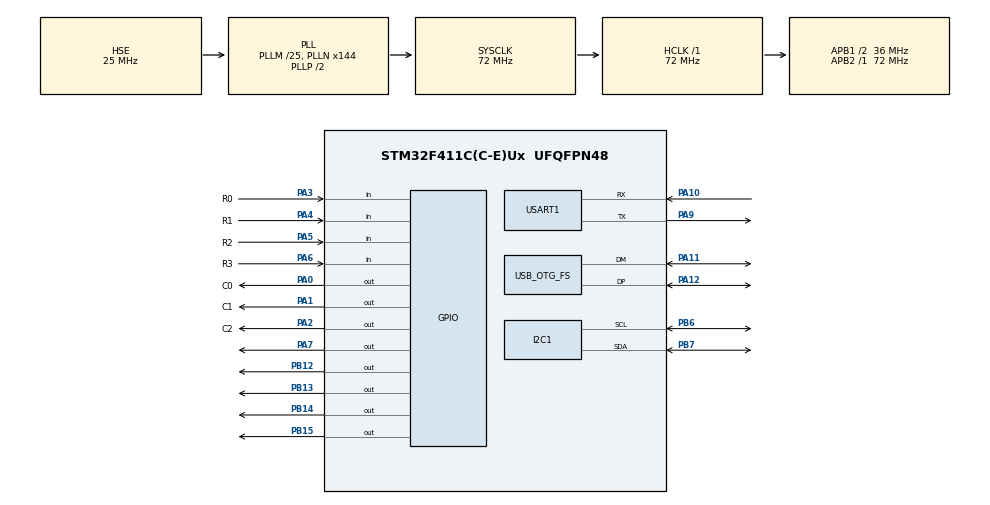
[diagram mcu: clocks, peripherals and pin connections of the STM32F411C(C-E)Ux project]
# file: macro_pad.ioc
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FREERTOS.Tasks01=defaultTask,0,128,StartDefaultTask,Default,NULL,Dynamic,NULL,NULL;UsbSendTask,0,128,UsbSendTaskInit,Default,NULL,Dynamic,NULL,NULL
FREERTOS.configUSE_NEWLIB_REENTRANT=1
Mcu.Family=STM32F4
Mcu.Name=STM32F411C(C-E)Ux
Mcu.Package=UFQFPN48
NVIC.OTG_FS_IRQn=true\:5\:0\:false\:false\:true\:true\:false\:true\:true
NVIC.PriorityGroup=NVIC_PRIORITYGROUP_4
PA0-WKUP.GPIO_Label=C0
PA0-WKUP.GPIO_PuPd=GPIO_PULLUP
PA0-WKUP.Signal=GPIO_Output
PA1.GPIO_Label=C1
PA1.GPIO_PuPd=GPIO_PULLUP
PA1.Signal=GPIO_Output
PA10.Mode=Asynchronous
PA10.Signal=USART1_RX
PA11.Mode=Device_Only
PA11.Signal=USB_OTG_FS_DM
PA12.Mode=Device_Only
PA12.Signal=USB_OTG_FS_DP
PA13.Mode=Serial_Wire
PA13.Signal=SYS_JTMS-SWDIO
PA14.Mode=Serial_Wire
PA14.Signal=SYS_JTCK-SWCLK
PA2.GPIO_Label=C2
PA2.GPIO_PuPd=GPIO_PULLUP
PA2.Signal=GPIO_Output
PA3.GPIO_Label=R0
PA3.GPIO_PuPd=GPIO_PULLUP
PA3.Signal=GPIO_Input
PA4.GPIO_Label=R1
PA4.GPIO_PuPd=GPIO_PULLUP
PA4.Signal=GPIO_Input
PA5.GPIO_Label=R2
PA5.GPIO_PuPd=GPIO_PULLUP
PA5.Signal=GPIO_Input
PA6.GPIO_Label=R3
PA6.GPIO_PuPd=GPIO_PULLUP
PA6.Signal=GPIO_Input
PA7.Signal=GPIO_Output
PA9.Mode=Asynchronous
PA9.Signal=USART1_TX
PB12.GPIO_PuPd=GPIO_PULLDOWN
PB12.Signal=GPIO_Output
PB13.GPIO_PuPd=GPIO_PULLDOWN
PB13.Signal=GPIO_Output
PB14.GPIO_PuPd=GPIO_PULLDOWN
PB14.Signal=GPIO_Output
PB15.GPIO_PuPd=GPIO_PULLDOWN
PB15.Signal=GPIO_Output
PB6.Mode=I2C
PB6.Signal=I2C1_SCL
PB7.Mode=I2C
PB7.Signal=I2C1_SDA
PH0\ -\ OSC_IN.Mode=HSE-External-Oscillator
PH0\ -\ OSC_IN.Signal=RCC_OSC_IN
PH1\ -\ OSC_OUT.Mode=HSE-External-Oscillator
PH1\ -\ OSC_OUT.Signal=RCC_OSC_OUT
ProjectManager.HeapSize=0x200
ProjectManager.StackSize=0x400
ProjectManager.TargetToolchain=STM32CubeIDE
RCC.48MHZClocksFreq_Value=48000000
RCC.AHBFreq_Value=72000000
RCC.APB1CLKDivider=RCC_HCLK_DIV2
RCC.APB1Freq_Value=36000000
RCC.APB1TimFreq_Value=72000000
RCC.APB2Freq_Value=72000000
RCC.APB2TimFreq_Value=72000000
RCC.CortexFreq_Value=72000000
RCC.HCLKFreq_Value=72000000
RCC.HSE_VALUE=25000000
RCC.HSI_VALUE=16000000
RCC.LSE_VALUE=32768
RCC.PLLM=25
RCC.PLLN=144
RCC.PLLQ=3
RCC.SYSCLKFreq_VALUE=72000000
RCC.SYSCLKSource=RCC_SYSCLKSOURCE_PLLCLK
RCC.VCOOutputFreq_Value=144000000
USART1.VirtualMode=VM_ASYNC
USB_DEVICE.CLASS_NAME_FS=HID
USB_DEVICE.PRODUCT_STRING_HID_FS=STM32F411 Keyboard 2
USB_DEVICE.VirtualMode=Hid
USB_DEVICE.VirtualModeFS=Hid_FS
USB_OTG_FS.VirtualMode=Device_Only
VP_FREERTOS_VS_CMSIS_V1.Mode=CMSIS_V1
VP_USB_DEVICE_VS_USB_DEVICE_HID_FS.Mode=HID_FS
board=custom

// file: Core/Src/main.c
/* USER CODE BEGIN Header */
/**
  ******************************************************************************
  * @file           : main.c
  * @brief          : Main program body
  ******************************************************************************
  * @attention
  *
  * Copyright (c) 2025 STMicroelectronics.
  * All rights reserved.
  *
  * This software is licensed under terms that can be found in the LICENSE file
  * in the root directory of this software component.
  * If no LICENSE file comes with this software, it is provided AS-IS.
  *
  ******************************************************************************
  */
/* USER CODE END Header */
#include "main.h"
#include "cmsis_os.h"
#include "usb_device.h"

/* USER CODE BEGIN Includes */
#include <stdlib.h>
#include "usbd_hid.h"
#include "s4661768_keypad.h"
#include "s4661768_oled.h"
#include "ssd1306_fonts.h"
#include "ssd1306.h"
#include "ssd1306_conf.h"
#include "ssd1306_tests.h"
#include "FreeRTOS.h"
#include "task.h"
#include "queue.h"
#include "event_groups.h"

#include "frames.h"
/* USER CODE END Includes */

I2C_HandleTypeDef hi2c1;

UART_HandleTypeDef huart1;

osThreadId defaultTaskHandle;
osThreadId UsbSendTaskHandle;
/* USER CODE BEGIN PV */
extern USBD_HandleTypeDef hUsbDeviceFS;
//extern uint8_t frames;

EventGroupHandle_t Keypad;
QueueHandle_t UsbQueue;
QueueHandle_t OledQueue;
/* USER CODE END PV */

void SystemClock_Config(void);
static void MX_GPIO_Init(void);
static void MX_I2C1_Init(void);
static void MX_USART1_UART_Init(void);
void StartDefaultTask(void const * argument);
void UsbSendTaskInit(void const * argument);

/* USER CODE BEGIN PFP */
void s4661768TaskKeypad();

void clear_generic_report(GenericReport* genRep);
void clear_generic_msg(GenericReport* genRep);
void build_generic_msg(GenericReport* genRep);
void set_report(EventBits_t bits, GenericReport* genRep, uint8_t layer);
/* USER CODE END PFP */

int main(void)
{

  /* MCU Configuration--------------------------------------------------------*/

  /* Reset of all peripherals, Initializes the Flash interface and the Systick. */
  HAL_Init();

  /* Configure the system clock */
  SystemClock_Config();

  /* Initialize all configured peripherals */
  MX_GPIO_Init();
  MX_I2C1_Init();
  MX_USART1_UART_Init();

  /* Create the thread(s) */
  /* definition and creation of defaultTask */
  osThreadDef(defaultTask, StartDefaultTask, osPriorityNormal, 0, 128);
  defaultTaskHandle = osThreadCreate(osThread(defaultTask), NULL);

  /* definition and creation of UsbSendTask */
  osThreadDef(UsbSendTask, UsbSendTaskInit, osPriorityNormal, 0, 128);
  UsbSendTaskHandle = osThreadCreate(osThread(UsbSendTask), NULL);

  /* USER CODE BEGIN RTOS_THREADS */
  /* add threads, ... */
  s4661768_tsk_keypad_init();
  s4661768_tsk_oled_init();
  /* USER CODE END RTOS_THREADS */

  /* Start scheduler */
  osKernelStart();
  /* We should never get here as control is now taken by the scheduler */
  /* Infinite loop */
  while (1)
  {

  }
}

void SystemClock_Config(void)
{
  RCC_OscInitTypeDef RCC_OscInitStruct = {0};
  RCC_ClkInitTypeDef RCC_ClkInitStruct = {0};

  /** Configure the main internal regulator output voltage
  */
  __HAL_RCC_PWR_CLK_ENABLE();
  __HAL_PWR_VOLTAGESCALING_CONFIG(PWR_REGULATOR_VOLTAGE_SCALE1);

  /** Initializes the RCC Oscillators according to the specified parameters
  * in the RCC_OscInitTypeDef structure.
  */
  RCC_OscInitStruct.OscillatorType = RCC_OSCILLATORTYPE_HSE;
  RCC_OscInitStruct.HSEState = RCC_HSE_ON;
  RCC_OscInitStruct.PLL.PLLState = RCC_PLL_ON;
  RCC_OscInitStruct.PLL.PLLSource = RCC_PLLSOURCE_HSE;
  RCC_OscInitStruct.PLL.PLLM = 25;
  RCC_OscInitStruct.PLL.PLLN = 144;
  RCC_OscInitStruct.PLL.PLLP = RCC_PLLP_DIV2;
  RCC_OscInitStruct.PLL.PLLQ = 3;
  if (HAL_RCC_OscConfig(&RCC_OscInitStruct) != HAL_OK)
  {
    Error_Handler();
  }

  /** Initializes the CPU, AHB and APB buses clocks
  */
  RCC_ClkInitStruct.ClockType = RCC_CLOCKTYPE_HCLK|RCC_CLOCKTYPE_SYSCLK
                              |RCC_CLOCKTYPE_PCLK1|RCC_CLOCKTYPE_PCLK2;
  RCC_ClkInitStruct.SYSCLKSource = RCC_SYSCLKSOURCE_PLLCLK;
  RCC_ClkInitStruct.AHBCLKDivider = RCC_SYSCLK_DIV1;
  RCC_ClkInitStruct.APB1CLKDivider = RCC_HCLK_DIV2;
  RCC_ClkInitStruct.APB2CLKDivider = RCC_HCLK_DIV1;

  if (HAL_RCC_ClockConfig(&RCC_ClkInitStruct, FLASH_LATENCY_2) != HAL_OK)
  {
    Error_Handler();
  }
}

static void MX_I2C1_Init(void)
{

  hi2c1.Instance = I2C1;
  hi2c1.Init.ClockSpeed = 100000;
  hi2c1.Init.DutyCycle = I2C_DUTYCYCLE_2;
  hi2c1.Init.OwnAddress1 = 0;
  hi2c1.Init.AddressingMode = I2C_ADDRESSINGMODE_7BIT;
  hi2c1.Init.DualAddressMode = I2C_DUALADDRESS_DISABLE;
  hi2c1.Init.OwnAddress2 = 0;
  hi2c1.Init.GeneralCallMode = I2C_GENERALCALL_DISABLE;
  hi2c1.Init.NoStretchMode = I2C_NOSTRETCH_DISABLE;
  if (HAL_I2C_Init(&hi2c1) != HAL_OK)
  {
    Error_Handler();
  }

}

static void MX_USART1_UART_Init(void)
{

  huart1.Instance = USART1;
  huart1.Init.BaudRate = 115200;
  huart1.Init.WordLength = UART_WORDLENGTH_8B;
  huart1.Init.StopBits = UART_STOPBITS_1;
  huart1.Init.Parity = UART_PARITY_NONE;
  huart1.Init.Mode = UART_MODE_TX_RX;
  huart1.Init.HwFlowCtl = UART_HWCONTROL_NONE;
  huart1.Init.OverSampling = UART_OVERSAMPLING_16;
  if (HAL_UART_Init(&huart1) != HAL_OK)
  {
    Error_Handler();
  }

}

static void MX_GPIO_Init(void)
{
  GPIO_InitTypeDef GPIO_InitStruct = {0};

  /* GPIO Ports Clock Enable */
  __HAL_RCC_GPIOH_CLK_ENABLE();
  __HAL_RCC_GPIOA_CLK_ENABLE();
  __HAL_RCC_GPIOB_CLK_ENABLE();

  /*Configure GPIO pin Output Level */
  HAL_GPIO_WritePin(GPIOA, C0_Pin|C1_Pin|C2_Pin|GPIO_PIN_7, GPIO_PIN_RESET);

  /*Configure GPIO pin Output Level */
  HAL_GPIO_WritePin(GPIOB, GPIO_PIN_12|GPIO_PIN_13|GPIO_PIN_14|GPIO_PIN_15, GPIO_PIN_RESET);

  /*Configure GPIO pins : C0_Pin C1_Pin C2_Pin */
  GPIO_InitStruct.Pin = C0_Pin|C1_Pin|C2_Pin;
  GPIO_InitStruct.Mode = GPIO_MODE_OUTPUT_PP;
  GPIO_InitStruct.Pull = GPIO_PULLUP;
  GPIO_InitStruct.Speed = GPIO_SPEED_FREQ_LOW;
  HAL_GPIO_Init(GPIOA, &GPIO_InitStruct);

  /*Configure GPIO pins : R0_Pin R1_Pin R2_Pin R3_Pin */
  GPIO_InitStruct.Pin = R0_Pin|R1_Pin|R2_Pin|R3_Pin;
  GPIO_InitStruct.Mode = GPIO_MODE_INPUT;
  GPIO_InitStruct.Pull = GPIO_PULLUP;
  HAL_GPIO_Init(GPIOA, &GPIO_InitStruct);

  /*Configure GPIO pin : PA7 */
  GPIO_InitStruct.Pin = GPIO_PIN_7;
  GPIO_InitStruct.Mode = GPIO_MODE_OUTPUT_PP;
  GPIO_InitStruct.Pull = GPIO_NOPULL;
  GPIO_InitStruct.Speed = GPIO_SPEED_FREQ_LOW;
  HAL_GPIO_Init(GPIOA, &GPIO_InitStruct);

  /*Configure GPIO pins : PB12 PB13 PB14 PB15 */
  GPIO_InitStruct.Pin = GPIO_PIN_12|GPIO_PIN_13|GPIO_PIN_14|GPIO_PIN_15;
  GPIO_InitStruct.Mode = GPIO_MODE_OUTPUT_PP;
  GPIO_InitStruct.Pull = GPIO_PULLDOWN;
  GPIO_InitStruct.Speed = GPIO_SPEED_FREQ_LOW;
  HAL_GPIO_Init(GPIOB, &GPIO_InitStruct);

}

/* USER CODE BEGIN 4 */
/***************************************************************************************************/
/*                                      HELPER FUNCTIONS                                           */
/***************************************************************************************************/

/**
 * This function clears all attributes of the given GenericReport struct.
 *
 * @param:
 * 	genRep <GenericReport*>: struct used to hold data to be reported over USB.
 */
void clear_generic_report(GenericReport* genRep) {

	clear_generic_msg(genRep);

	genRep->reportId = 0;
	genRep->r0 = 0;
	genRep->r1 = 0;
	genRep->r2 = 0;
	genRep->r3 = 0;
	genRep->r4 = 0;
	genRep->r5 = 0;
	genRep->r6 = 0;
	genRep->r7 = 0;

}

/**
 * This function clears the msg attribute of the given GenericReport struct.
 *
 * NOTE" This method does not clear the reportId attribute of GenericReport. To
 * clear the reportId you must use clear_generic_report() and build_generic_msg().
 *
 * @param:
 * 	genRep <GenericReport*>: struct used to hold data to be reported over USB.
 */
void clear_generic_msg(GenericReport* genRep) {

	/* Clear everything but the report ID */
	genRep->msg[1] = 0;
	genRep->msg[2] = 0;
	genRep->msg[3] = 0;
	genRep->msg[4] = 0;
	genRep->msg[5] = 0;
	genRep->msg[6] = 0;
	genRep->msg[7] = 0;
	genRep->msg[8] = 0;
}

/**
 * This function populates the msg attribute of the given GenericReport struct using the other
 * attributes.
 *
 * @param:
 * 	genRep <GenericReport*>: struct used to hold data to be reported over USB.
 */
void build_generic_msg(GenericReport* genRep) {

	/* Set Keyboard Report */
	genRep->msg[0] = genRep->reportId;
	genRep->msg[1] = genRep->r0;
	genRep->msg[2] = genRep->r1;
	genRep->msg[3] = genRep->r2;
	genRep->msg[4] = genRep->r3;
	genRep->msg[5] = genRep->r4;
	genRep->msg[6] = genRep->r5;
	genRep->msg[7] = genRep->r6;
	genRep->msg[8] = genRep->r7;

}

/**
 * This functions takes the event bits and generates the GenericReport according to the event bits
 *
 * This is where the layer mapping is defined.
 *
 * @param:
 *  key <EventBits_t>: Event bits variable showing what key has been pressed.
 * 	genRep <GenericReport*>: struct used to hold data to be reported over USB.
 * 	layer <uint8_t>: current layer number
 * */
void set_report(EventBits_t key, GenericReport* genRep, uint8_t layer) {

	if (layer == 0) {

		switch (key) {

			case KEY0:
				genRep->reportId = KEYBOARD_REPORT_ID;
				genRep->r2 = 0x04;
				break;

			case KEY1:
				genRep->reportId = KEYBOARD_REPORT_ID;
				genRep->r2= 0x05;
				break;

			case KEY2:
				genRep->reportId = KEYBOARD_REPORT_ID;
				genRep->r2 = 0x06;
				break;

			case KEY4:
				genRep->reportId = KEYBOARD_REPORT_ID;
				genRep->r2 = 0x07;
				break;

			case KEY5:
				genRep->reportId = KEYBOARD_REPORT_ID;
				genRep->r2 = 0x08;
				break;

			case KEY6:
				genRep->reportId = KEYBOARD_REPORT_ID;
				genRep->r2 = 0x09;
				break;

			case KEY8:
				genRep->reportId = KEYBOARD_REPORT_ID;
				genRep->r2= 0x0A;
				break;

			case KEY9:
				genRep->reportId = KEYBOARD_REPORT_ID;
				genRep->r2 = 0x0B;
				break;

			case KEY10:
				genRep->reportId = KEYBOARD_REPORT_ID;
				genRep->r2 = 0x0C;
				break;

			case KEY12:
				genRep->reportId = KEYBOARD_REPORT_ID;
				genRep->r2 = 0x29;
				break;

			case KEY13:
				genRep->reportId = KEYBOARD_REPORT_ID;
				genRep->r0 = (0x04 | 0x01);
				genRep->r2 = 0x2B;
				break;
		}

	} else if (layer == 1) {

		switch (key) {

			case KEY0:
				genRep->reportId = 0x03;
				genRep->r0 = 0x10;
				break;

			case KEY1:
				genRep->reportId = 0x03;
				genRep->r0  = 0x20;
				break;

			case KEY2:

				genRep->reportId = MEDIA_REPORT_ID;
				genRep->r0 = 0x40;
				break;

			case KEY4:
				genRep->reportId = KEYBOARD_REPORT_ID;
				genRep->r0 = 0x02;
				genRep->r2 = 0x07;
				break;

			case KEY5:
				genRep->reportId = KEYBOARD_REPORT_ID;
				genRep->r0 = 0x02;
				genRep->r2 = 0x08;
				break;

			case KEY6:
				genRep->reportId = KEYBOARD_REPORT_ID;
				genRep->r0 = 0x02;
				genRep->r2 = 0x09;
				break;

			case KEY8:
				genRep->reportId = KEYBOARD_REPORT_ID;
				genRep->r0 = 0x02;
				genRep->r2 = 0x0A;
				break;

			case KEY9:
				genRep->reportId = KEYBOARD_REPORT_ID;
				genRep->r0 = 0x02;
				genRep->r2 = 0x0B;
				break;

			case KEY10:
				genRep->reportId = KEYBOARD_REPORT_ID;
				genRep->r0= 0x02;
				genRep->r2 = 0x0C;
				break;

			case KEY12:
				genRep->reportId = KEYBOARD_REPORT_ID;
				genRep->r2 = 0x29;
				break;

			case KEY13:
				genRep->reportId = KEYBOARD_REPORT_ID;
				genRep->r0 = (0x04 | 0x01);
				genRep->r2= 0x2B;
				break;
		}
	}
}

void s4661768_tsk_keypad_init() {

    xTaskCreate((void *) &s4661768TaskKeypad, (const char *) "Keypad", KEYPADTASK_STACK_SIZE, NULL, KEYPADTASK_PRIORITY, NULL);
}

/**
 * Keypad task function. Calls s4661768_reg_keypad_fsmprocessing every 50 milliseconds and sets
 * an event bit if there was a keypress.
 */
void s4661768TaskKeypad() {
//    unsigned char keypress = 0xFF;
    unsigned char keypresses[4] = {0xFF, 0xFF, 0xFF};
    uint8_t keypressed = 1;
    uint8_t validpress = 0;
    Keypad = xEventGroupCreate();

    for (;;) {
    		for (int i = 0; i < 4; i++) {
    			s4661768_reg_keypad_fsmprocessing();
				vTaskDelay(20);

				if (s4661768_reg_keypad_read_status() == 0) {
					keypressed = 0;
					break;
				} else {
					keypresses[i] = s4661768_reg_keypad_read_key();
				}
				keypressed = 1;
    		}

    		for (int i = 0; i < 3; i++) {
    			if (keypressed == 0) {
    				break;
    			}

    			if (keypresses[i] != keypresses[i + 1]) {
    				keypressed = 0;
    				validpress = 0;
    				break;
    			} else {
    				keypressed = 1;
					validpress = 1;
    			}
    		}

            if (keypressed == 1 && validpress == 1) { // If there was a key press

//                keypress = s4661768_reg_keypad_read_key();

                taskENTER_CRITICAL();
                switch (keypresses[0]) {
                    case 0x00:
                        xEventGroupSetBits(Keypad, KEY0);
                        break;

                    case 0x01:
                        xEventGroupSetBits(Keypad, KEY1);
                        break;

                    case 0x02:
                        xEventGroupSetBits(Keypad, KEY2);
                        break;

                    case 0x04:
                        xEventGroupSetBits(Keypad, KEY4);
                        break;

                    case 0x05:
                        xEventGroupSetBits(Keypad, KEY5);
                        break;

                    case 0x06:
                        xEventGroupSetBits(Keypad, KEY6);
                        break;

                    case 0x08:
                        xEventGroupSetBits(Keypad, KEY8);
                        break;

                    case 0x09:
                        xEventGroupSetBits(Keypad, KEY9);
                        break;

                    case 0x0A:
                        xEventGroupSetBits(Keypad, KEY10);
                        break;

                    case 0x0C:
                        xEventGroupSetBits(Keypad, KEY12);
                        break;

                    case 0x0D:
                        xEventGroupSetBits(Keypad, KEY13);
                        break;

                    case 0x0E:
                        xEventGroupSetBits(Keypad, KEY14);
                        break;

                }

//                keypress = 0xFF; // Clearing keypress variable
                keypressed = 0;
				validpress = 0;
                taskEXIT_CRITICAL();
            }
        }
}

void s4661768TaskOled() {

	uint8_t currentState = OLED_INIT_STATE;
	uint8_t nextState = OLED_INIT_STATE;

	uint8_t frameCount = 0;
	Oled oledState; // Initialise Oled struct

	for (;;) {

		if (currentState == OLED_INIT_STATE) {
			OledQueue = xQueueCreate(4, sizeof(Oled));
			ssd1306_Init();	//Initialise SSD1306 OLED.
			nextState = OLED_BLOCKED_STATE;
		} else if (currentState == OLED_BLOCKED_STATE) {
			if (xQueueReceive(OledQueue, &oledState, 5)) { // Received from queue.
				nextState = OLED_UPDATE_STATE;
			}
			ssd1306_Fill(Black);
			ssd1306_DrawBitmap(32, 32, frames[frameCount], FRAME_WIDTH, FRAME_HEIGHT, White);
			frameCount = (frameCount + 1) % FRAME_COUNT;
			ssd1306_UpdateScreen();
		} else if (currentState == OLED_UPDATE_STATE) {
			ssd1306_Fill(Black);
			if (xQueueReceive(OledQueue, &oledState, 5)) { // Received from queue.
				nextState = OLED_UPDATE_STATE;
			}
			/* Checking if there is string to display. */
			if ((oledState.stringCoords[0] != -1) && (oledState.stringCoords[1] != -1)) {
				ssd1306_SetCursor(oledState.stringCoords[0], oledState.stringCoords[1]);
				ssd1306_WriteString(oledState.string, Font_6x8, White);
			}
			if ((oledState.linesLength != 0) && (oledState.linesLength % 4 == 0)) {

				/* Drawing lines. */
				int i = 0;
				while (i < oledState.linesLength) {
					ssd1306_draw_line(oledState.lines[i], oledState.lines[i + 1], oledState.lines[i + 2]
							   , oledState.lines[i + 3]);
					i += 4;
				}
				i = 0;

			}

			ssd1306_DrawBitmap(32, 32, frames[frameCount], FRAME_WIDTH, FRAME_HEIGHT, White);
//			ssd1306_DrawBitmap(32, 16, frames[frameCount], FRAME_WIDTH, FRAME_HEIGHT, White);
			frameCount = (frameCount + 1) % FRAME_COUNT;
			ssd1306_UpdateScreen();
		}

		currentState = nextState;
	}
}
/* USER CODE END 4 */

void StartDefaultTask(void const * argument)
{
	/* init code for USB_DEVICE */
	MX_USB_DEVICE_Init();
	/* USER CODE BEGIN 5 */
	uint8_t layer = 0;
	EventBits_t key;
	GenericReport genRep;
	Oled oledStruct;
	clear_generic_report(&genRep);
	char oledMsg[21];
	uint8_t lines[12] = {0, 11, 127, 11,
					 	 84, 0, 84, 10};
	uint8_t welcome = 1;

	/* Infinite loop */
  	for(;;) {
		/* Making sure event group exists before attempting to use it */
		if (Keypad == NULL) { continue; }

		/* Boot up screen */
		if ((welcome == 1) && (OledQueue != NULL)) {

			  oledStruct.string = "Hello User.";
			  oledStruct.stringCoords[0] = 15;
			  oledStruct.stringCoords[1] = 10;
			  xQueueSend(OledQueue, &oledStruct, 5);

			  oledStruct.string = "Your MacroPad Is";
			  oledStruct.stringCoords[0] = 15;
			  oledStruct.stringCoords[1] = 20;
			  xQueueSend(OledQueue, &oledStruct, 5);

			  oledStruct.string = "Ready.";
			  oledStruct.stringCoords[0] = 15;
			  oledStruct.stringCoords[1] = 30;
			  xQueueSend(OledQueue, &oledStruct, 5);

			  oledStruct.update = 1;
			  xQueueSend(OledQueue, &oledStruct, 5);

			  welcome++;

		}

		vTaskDelay(60);

		key = 0;
		key = xEventGroupWaitBits(Keypad, KEYBOARD_KEYS | KEY14, pdTRUE, pdFALSE, 10);

		if (key == 0) {

		  continue;

		} else if (key == KEY14) {

		  layer = ((layer + 1) % 2);

		  /* Sending new layer information to OLED task */
		  if (OledQueue != NULL) {
			  oledStruct.clear = 1;
			  xQueueSend(OledQueue, &oledStruct, 1);

			  memset(oledMsg, '\0', sizeof(oledMsg));
			  sprintf(oledMsg, "L%d: Media     v0.0.1", layer);
			  oledStruct.string = oledMsg;
			  oledStruct.stringCoords[0] = 5;
			  oledStruct.stringCoords[1] = 0;

			  oledStruct.lines = lines;
			  oledStruct.linesLength = 8;

			  oledStruct.update = 1;
			  xQueueSend(OledQueue, &oledStruct, 1);

		  }
		  continue;
		}

		set_report(key, &genRep, layer);

		if (UsbQueue == NULL) {

			clear_generic_report(&genRep);
			continue;
		}

		/* Send keystroke */
		build_generic_msg(&genRep);
		xQueueSend(UsbQueue, &genRep.msg, 5);

		/* clear keystroke and send no key press */
		clear_generic_msg(&genRep);
		xQueueSend(UsbQueue, &genRep.msg, 5);
		osDelay(10); // Wait and send again just in case packet was missed.
		xQueueSend(UsbQueue, &genRep.msg, 5);
		clear_generic_report(&genRep);
	}
  /* USER CODE END 5 */
}

void UsbSendTaskInit(void const * argument)
{
  /* USER CODE BEGIN UsbSendTaskInit */

	UsbQueue = xQueueCreate(4, GENERIC_REPORT_SIZE);
	uint8_t msg[GENERIC_REPORT_SIZE] = {0};
  /* Infinite loop */
  for(;;) {

	  if (xQueueReceive(UsbQueue, &msg, 5) == pdFALSE) { continue; } // If nothing is queue do nothing

	  USBD_HID_SendReport(&hUsbDeviceFS, msg, sizeof(msg));
	  memset(msg, 0, sizeof(msg));
	  vTaskDelay(20);
  }
  /* USER CODE END UsbSendTaskInit */
}

void Error_Handler(void)
{
  __disable_irq();
  while (1)
  {
  }
}
